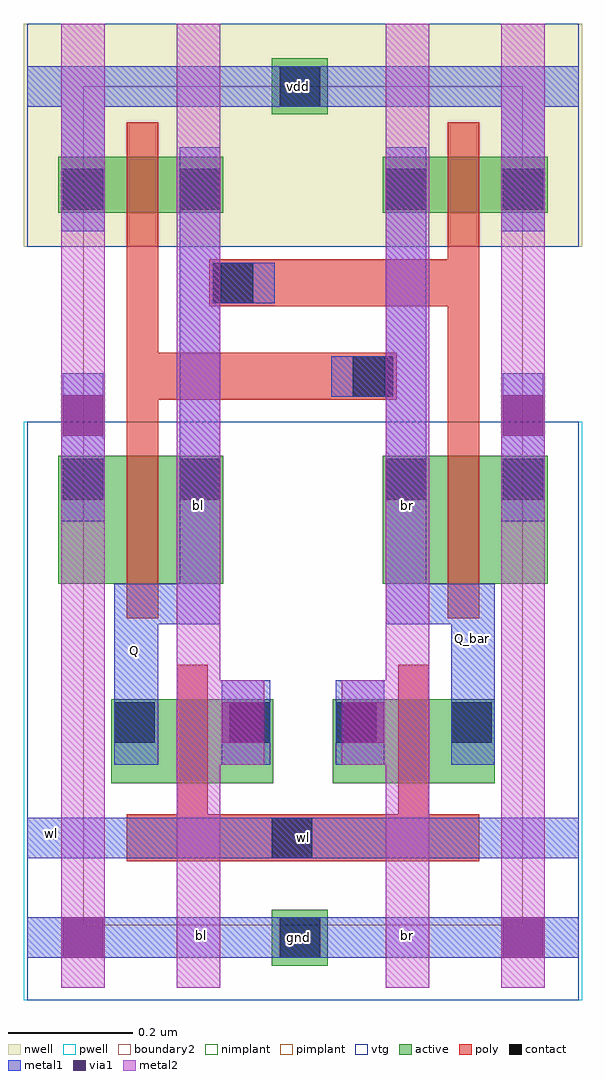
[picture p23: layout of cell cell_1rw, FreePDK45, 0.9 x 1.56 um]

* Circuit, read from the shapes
.subckt cell_1rw Q Q_bar bl br gnd vdd wl
M1 Q Q_bar gnd gnd nfet w=0.205u l=0.05u
M2 bl wl Q gnd nfet w=0.135u l=0.05u
M3 Q_bar wl br gnd nfet w=0.135u l=0.05u
M4 gnd Q Q_bar gnd nfet w=0.205u l=0.05u
M5 Q Q_bar vdd vdd pfet w=0.09u l=0.05u
M6 vdd Q Q_bar vdd pfet w=0.09u l=0.05u
.ends

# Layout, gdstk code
import gdstk
lib = gdstk.Library(unit=1e-6, precision=5e-10)
def R(c, l, rs):  # rectangles x0, y0, x1, y1
    for r in rs: c.add(gdstk.rectangle(r[:2], r[2:], *l))
active = (1, 0)
pwell = (2, 0)
nwell = (3, 0)
nimplant = (4, 0)
pimplant = (5, 0)
vtg = (6, 0)
poly = (9, 0)
contact = (10, 0)
metal1 = (11, 0)
via1 = (12, 0)
metal2 = (13, 0)
boundary2 = (239, 0)

cell_1rw = lib.new_cell('cell_1rw')
R(cell_1rw, active, [(0.3025,-0.045,0.3925,0.045), (0.3025,-0.045,0.3925,0.045), (0.045,0.2475,0.12,0.3825), (0.045,0.2475,0.12,0.3825), (0.045,0.2475,0.305,0.3825), (0.23,0.2475,0.305,0.3825), (0.23,0.2475,0.305,0.3825), (0.4,0.2475,0.475,0.3825), (0.4,0.2475,0.475,0.3825), (0.4,0.2475,0.66,0.3825), (0.585,0.2475,0.66,0.3825), (0.585,0.2475,0.66,0.3825), (0.045,0.3075,0.12,0.3825), (0.23,0.3075,0.305,0.3825), (0.4,0.3075,0.475,0.3825), (0.585,0.3075,0.66,0.3825), (-0.04,0.5675,0.225,0.7725), (-0.035,0.5675,0.04,0.7725), (-0.035,0.5675,0.04,0.7725), (0.15,0.5675,0.225,0.7725), (0.15,0.5675,0.225,0.7725), (0.48,0.5675,0.555,0.7725), (0.48,0.5675,0.555,0.7725), (0.48,0.5675,0.745,0.7725), (0.665,0.5675,0.74,0.7725), (0.665,0.5675,0.74,0.7725), (-0.035,0.6975,0.04,0.7725), (0.15,0.6975,0.225,0.7725), (0.48,0.6975,0.555,0.7725), (0.665,0.6975,0.74,0.7725), (-0.04,1.1625,0.225,1.2525), (-0.04,1.1625,0.04,1.2375), (-0.035,1.1625,0.04,1.2525), (-0.035,1.1625,0.04,1.2525), (0.15,1.1625,0.225,1.2375), (0.15,1.1625,0.225,1.2525), (0.15,1.1625,0.225,1.2525), (0.48,1.1625,0.555,1.2375), (0.48,1.1625,0.555,1.2525), (0.48,1.1625,0.555,1.2525), (0.48,1.1625,0.745,1.2525), (0.665,1.1625,0.74,1.2525), (0.665,1.1625,0.74,1.2525), (0.665,1.1625,0.745,1.2375), (0.3025,1.32,0.3925,1.41), (0.3025,1.32,0.3925,1.41)])
R(cell_1rw, pwell, [(-0.095,-0.1,0.8,0.8275), (0.2475,-0.1,0.4475,0.1), (0.2475,-0.08,0.4475,0.12), (-0.01,0.1925,0.36,0.4375), (0.345,0.1925,0.715,0.4375), (-0.09,0.5125,0.28,0.8275), (0.425,0.5125,0.795,0.8275)])
R(cell_1rw, nwell, [(-0.095,1.1075,0.8,1.465), (-0.09,1.1075,0.28,1.3075), (0.425,1.1075,0.795,1.3075), (0.2475,1.265,0.4475,1.465), (0.2475,1.265,0.4475,1.465)])
R(cell_1rw, nimplant, [(0.045,0.2475,0.305,0.3825), (0.4,0.2475,0.66,0.3825), (-0.035,0.5675,0.225,0.7725), (0.48,0.5675,0.74,0.7725), (0.3025,1.32,0.3925,1.41), (0.3025,1.32,0.3925,1.41)])
R(cell_1rw, pimplant, [(0.3025,-0.045,0.3925,0.045), (-0.035,1.1625,0.225,1.2525), (0.48,1.1625,0.74,1.2525)])
R(cell_1rw, vtg, [(-0.09,-0.1,0.795,0.8275), (-0.01,0.1925,0.36,0.4375), (0.345,0.1925,0.715,0.4375), (-0.09,0.5125,0.28,0.8275), (0.425,0.5125,0.795,0.8275), (-0.09,1.1075,0.795,1.465), (-0.09,1.1075,0.28,1.3075), (0.425,1.1075,0.795,1.3075)])
R(cell_1rw, poly, [(0.07,0.1225,0.635,0.1975), (0.2975,0.1225,0.3725,0.1975), (0.15,0.1925,0.2,0.4375), (0.15,0.1925,0.2,0.2475), (0.505,0.1925,0.555,0.4375), (0.505,0.1925,0.555,0.2475), (0.15,0.3825,0.2,0.4375), (0.505,0.3825,0.555,0.4375), (0.07,0.5125,0.12,0.5675), (0.07,0.5125,0.12,0.8275), (0.585,0.5125,0.635,0.5675), (0.585,0.5125,0.635,0.8275), (0.07,0.7725,0.12,0.8275), (0.585,0.7725,0.635,0.8275), (0.07,0.8275,0.12,1.1075), (0.07,0.8275,0.12,1.1075), (0.585,0.8275,0.635,1.1075), (0.585,0.8275,0.635,1.1075), (0.07,0.8625,0.5025,0.9375), (0.4275,0.8625,0.5025,0.9375), (0.4275,0.8625,0.5025,0.9375), (0.2025,1.0125,0.635,1.0875), (0.2025,1.0125,0.2775,1.0875), (0.2025,1.0125,0.2775,1.0875), (0.07,1.1075,0.12,1.1625), (0.07,1.1075,0.12,1.3075), (0.585,1.1075,0.635,1.1625), (0.585,1.1075,0.635,1.3075), (0.07,1.2525,0.12,1.3075), (0.585,1.2525,0.635,1.3075)])
R(cell_1rw, contact, [(0.315,-0.0325,0.38,0.0325), (0.3025,0.1275,0.3675,0.1925), (0.05,0.3125,0.115,0.3775), (0.235,0.3125,0.3,0.3775), (0.405,0.3125,0.47,0.3775), (0.59,0.3125,0.655,0.3775), (-0.0325,0.7025,0.0325,0.7675), (0.155,0.7025,0.22,0.7675), (0.485,0.7025,0.55,0.7675), (0.6725,0.7025,0.7375,0.7675), (0.4325,0.8675,0.4975,0.9325), (0.4325,0.8675,0.4975,0.9325), (0.2075,1.0175,0.2725,1.0825), (0.2075,1.0175,0.2725,1.0825), (-0.0325,1.1675,0.0325,1.2325), (0.155,1.1675,0.22,1.2325), (0.485,1.1675,0.55,1.2325), (0.6725,1.1675,0.7375,1.2325), (0.315,1.3325,0.38,1.3975)])
R(cell_1rw, metal1, [(-0.09,-0.0325,0.795,0.0325), (-0.09,-0.0325,0.795,0.0325), (-0.09,0.1275,0.795,0.1925), (-0.09,0.1275,0.795,0.1925), (0.2675,0.1275,0.4025,0.1925), (-0.085,0.13,-0.0325,0.1925), (0.62,0.13,0.6725,0.1925), (0.05,0.2775,0.12,0.5675), (0.05,0.2775,0.115,0.4125), (0.2225,0.2775,0.2875,0.4125), (0.235,0.2775,0.3,0.4125), (0.405,0.2775,0.47,0.4125), (0.4175,0.2775,0.4825,0.4125), (0.59,0.2775,0.66,0.5675), (0.59,0.2775,0.655,0.4125), (0.05,0.5025,0.22,0.5675), (0.155,0.5025,0.22,1.2425), (0.485,0.5025,0.55,1.1325), (0.485,0.5025,0.66,0.5675), (-0.035,0.6675,0.035,0.8025), (-0.035,0.6675,0.035,0.8025), (-0.03,0.6675,0.035,0.8025), (0.155,0.6675,0.22,0.8025), (0.485,0.6675,0.55,0.8025), (0.67,0.6675,0.74,0.8025), (0.67,0.6675,0.74,0.8025), (0.67,0.6675,0.74,0.8025), (0.67,0.6675,0.74,0.8025), (0.67,0.6675,0.74,0.8025), (0.67,0.6675,0.74,0.8025), (0.67,0.6675,0.735,0.8025), (-0.0325,0.77,0.0325,0.905), (-0.0325,0.77,0.0325,0.905), (-0.0325,0.77,0.0325,0.905), (-0.0325,0.77,0.0325,0.905), (-0.0325,0.77,0.0325,0.905), (-0.0325,0.77,0.0325,0.905), (0.6725,0.77,0.7375,0.905), (0.6725,0.77,0.7375,0.905), (0.6725,0.77,0.7375,0.905), (0.6725,0.77,0.7375,0.905), (0.6725,0.77,0.7375,0.905), (0.6725,0.77,0.7375,0.905), (0.6725,0.77,0.7375,0.905), (0.6725,0.77,0.7375,0.905), (0.6725,0.77,0.7375,0.905), (0.6725,0.77,0.7375,0.905), (0.6725,0.77,0.7375,0.905), (0.6725,0.77,0.7375,0.905), (0.6725,0.77,0.7375,0.905), (0.6725,0.77,0.7375,0.905), (0.6725,0.77,0.7375,0.905), (0.6725,0.77,0.7375,0.905), (0.6725,0.77,0.7375,0.905), (0.6725,0.77,0.7375,0.905), (0.6725,0.77,0.7375,0.905), (0.6725,0.77,0.7375,0.905), (0.6725,0.77,0.7375,0.905), (0.6725,0.77,0.7375,0.905), (0.6725,0.77,0.7375,0.905), (0.6725,0.77,0.7375,0.905), (0.3975,0.8675,0.5325,0.9325), (0.3975,0.8675,0.5325,0.9325), (0.1725,1.0175,0.3075,1.0825), (0.1725,1.0175,0.3075,1.0825), (-0.035,1.1325,0.035,1.3325), (-0.03,1.1325,0.035,1.2675), (0.155,1.1325,0.22,1.2675), (0.485,1.1325,0.55,1.2675), (0.67,1.1325,0.74,1.3325), (0.67,1.1325,0.74,1.3325), (0.67,1.1325,0.735,1.2675), (-0.09,1.3325,0.795,1.3975), (-0.09,1.3325,0.795,1.3975)])
R(cell_1rw, via1, [(-0.0325,-0.0325,0.0325,0.0325), (-0.0325,-0.0325,0.0325,0.0325), (0.6725,-0.0325,0.7375,0.0325), (0.6725,-0.0325,0.7375,0.0325), (0.6725,-0.0325,0.7375,0.0325), (0.6725,-0.0325,0.7375,0.0325), (0.2225,0.3125,0.2875,0.3775), (0.4175,0.3125,0.4825,0.3775), (-0.0325,0.805,0.0325,0.87), (-0.0325,0.805,0.0325,0.87), (-0.0325,0.805,0.0325,0.87), (-0.0325,0.805,0.0325,0.87), (-0.0325,0.805,0.0325,0.87), (-0.0325,0.805,0.0325,0.87), (0.6725,0.805,0.7375,0.87), (0.6725,0.805,0.7375,0.87), (0.6725,0.805,0.7375,0.87), (0.6725,0.805,0.7375,0.87), (0.6725,0.805,0.7375,0.87), (0.6725,0.805,0.7375,0.87), (0.6725,0.805,0.7375,0.87), (0.6725,0.805,0.7375,0.87), (0.6725,0.805,0.7375,0.87), (0.6725,0.805,0.7375,0.87), (0.6725,0.805,0.7375,0.87), (0.6725,0.805,0.7375,0.87), (0.6725,0.805,0.7375,0.87), (0.6725,0.805,0.7375,0.87), (0.6725,0.805,0.7375,0.87), (0.6725,0.805,0.7375,0.87), (0.6725,0.805,0.7375,0.87), (0.6725,0.805,0.7375,0.87), (0.6725,0.805,0.7375,0.87), (0.6725,0.805,0.7375,0.87), (0.6725,0.805,0.7375,0.87), (0.6725,0.805,0.7375,0.87), (0.6725,0.805,0.7375,0.87), (0.6725,0.805,0.7375,0.87)])
R(cell_1rw, metal2, [(-0.035,-0.08,0.035,1.465), (0.15,-0.08,0.22,1.465), (0.15,-0.08,0.22,1.465), (0.485,-0.08,0.555,1.465), (0.485,-0.08,0.555,1.465), (0.67,-0.08,0.74,1.465), (0.4925,-0.0325,0.55,0.0275), (-0.03,-0.03,0.03,0.0275), (0.1575,-0.025,0.2125,0.0275), (0.675,-0.025,0.735,0.0325), (0.67,-0.0125,0.74,1.3975), (0.22,0.2775,0.29,0.4125), (0.415,0.2775,0.485,0.4125), (-0.035,0.77,0.035,0.905), (-0.035,0.77,0.035,0.905), (-0.035,0.77,0.035,0.905), (-0.035,0.77,0.035,0.905), (-0.035,0.77,0.035,0.905), (-0.035,0.77,0.035,0.905), (0.67,0.77,0.74,0.905), (0.67,0.77,0.74,0.905), (0.67,0.77,0.74,0.905), (0.67,0.77,0.74,0.905), (0.67,0.77,0.74,0.905), (0.67,0.77,0.74,0.905), (0.67,0.77,0.74,0.905), (0.67,0.77,0.74,0.905), (0.67,0.77,0.74,0.905), (0.67,0.77,0.74,0.905), (0.67,0.77,0.74,0.905), (0.67,0.77,0.74,0.905), (0.67,0.77,0.74,0.905), (0.67,0.77,0.74,0.905), (0.67,0.77,0.74,0.905), (0.67,0.77,0.74,0.905), (0.67,0.77,0.74,0.905), (0.67,0.77,0.74,0.905), (0.67,0.77,0.74,0.905), (0.67,0.77,0.74,0.905), (0.67,0.77,0.74,0.905), (0.67,0.77,0.74,0.905), (0.67,0.77,0.74,0.905), (0.67,0.77,0.74,0.905)])
R(cell_1rw, boundary2, [(0,0.02,0.705,1.365)])
cell_1rw.add(gdstk.Label('gnd', (0.345,0), layer=11, texttype=0))
cell_1rw.add(gdstk.Label('vdd', (0.345,1.365), layer=11, texttype=0))
cell_1rw.add(gdstk.Label('Q_bar', (0.625,0.48), layer=11, texttype=0))
cell_1rw.add(gdstk.Label('Q', (0.0825,0.46), layer=11, texttype=0))
cell_1rw.add(gdstk.Label('wl', (-0.05,0.167), layer=11, texttype=0))
cell_1rw.add(gdstk.Label('bl', (0.19,0.003), layer=13, texttype=0))
cell_1rw.add(gdstk.Label('br', (0.52,0.003), layer=13, texttype=0))
cell_1rw.add(gdstk.Label('bl', (0.185,0.6925), layer=13, texttype=0))
cell_1rw.add(gdstk.Label('br', (0.52,0.6925), layer=13, texttype=0))
cell_1rw.add(gdstk.Label('wl', (0.3525,0.16), layer=11, texttype=0))
cell_1rw.add(gdstk.Label('vdd', (0.3525,1.365), layer=11, texttype=0))
cell_1rw.add(gdstk.Label('gnd', (0.3525,0), layer=11, texttype=0))

lib.write_gds('cell_1rw.gds')
